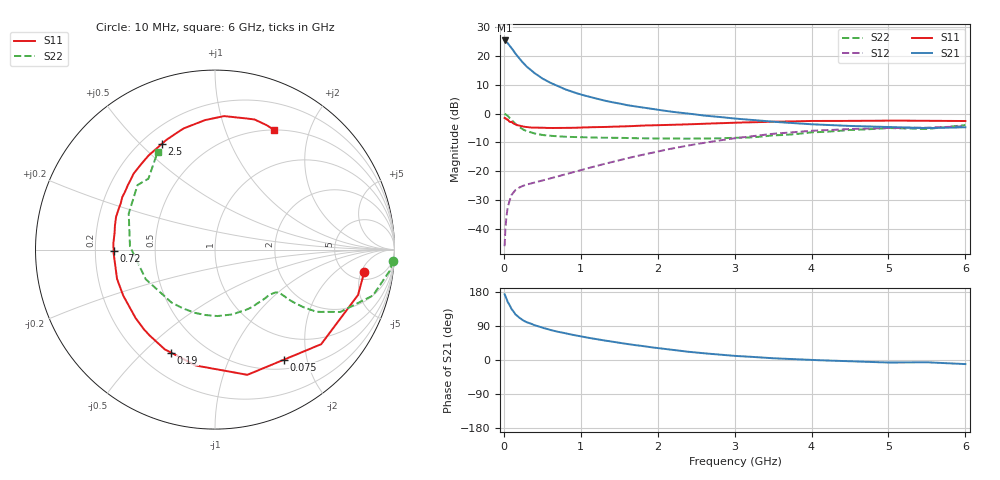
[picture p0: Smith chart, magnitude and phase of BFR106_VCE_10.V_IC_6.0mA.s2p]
! Infineon Technologies  Discrete & RF Semiconductors
! BFR106
! VCE =  10. V,  IC =  6.0 mA
! Common Emitter S-Parameters:  Nov 2015
# GHz  S  MA  R  50
!  f  S11  S21  S12  S22
! GHz  MAG  ANG  MAG  ANG  MAG  ANG  MAG  ANG
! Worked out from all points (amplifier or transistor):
!   210 points, 10 MHz to 6 GHz, reference 50 ohm
!   highest |S21| = 25.4 dB at 10 MHz (marker M1)
!   |S21| within 3 dB of that: start of sweep to 110.4 MHz
!   unconditionally stable (mu >= 1): 583.7 MHz to 1.841 GHz; 5.138 GHz to end of sweep
!   at 185 MHz: K = 0.42, MSG = 22.8 dB, |S12| = -25.9 dB
!   at 1.52 GHz: K = 1.09, MAG = 7.9 dB, |S12| = -16.1 dB
!   at 6 GHz: K = 1.01, MAG = -0.9 dB, |S12| = -4.4 dB
!   S11 on the Smith chart (normalised r, x): 10 MHz: 6.56, -5.68; 75 MHz: 0.63, -1.63; 190 MHz: 0.32, -0.61; 720 MHz: 0.28, -0.01; 2.5 GHz: 0.28, +0.58; 6 GHz: 0.50, +1.48
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0.01  0.8406 -8.7  18.61 173.6  0.005 89.8  0.9934 -3.6
0.02  0.836 -17.6  18.3 168.9  0.0097 82.5  0.98 -7.0
0.05  0.7923 -41.7  16.78 153.2  0.0234 69.7  0.9164 -16.2
0.075  0.7239 -57.8  15.09 144.8  0.0308 61.1  0.8444 -20.9
0.1  0.7207 -75.5  13.81 134.5  0.0387 55.9  0.7793 -26.5
0.15  0.6547 -99.4  11.03 120.4  0.047 47.1  0.6636 -31.5
0.19  0.6241 -113.1  9.464 113.7  0.051 44.7  0.6019 -32.7
0.2  0.6223 -116.7  9.097 111.7  0.052 44.2  0.5865 -33.1
0.26  0.5951 -131.7  7.364 103.5  0.0565 42.5  0.5215 -33.9
0.3  0.584 -139.3  6.481 99.5  0.0587 42.8  0.4944 -34.0
0.4  0.572 -153.4  5.033 91.7  0.0638 43.8  0.4497 -33.9
0.5  0.5697 -163.3  4.077 85.1  0.0689 46.7  0.4252 -34.1
0.6  0.5626 -171.5  3.452 79.6  0.0747 49.4  0.4124 -35.4
0.72  0.5652 -179.1  2.923 73.9  0.0827 53.0  0.4023 -37.6
1.02  0.5743 165.6  2.112 61.7  0.1059 59.6  0.3892 -44.3
1.4  0.5936 150.5  1.584 48.7  0.1434 64.1  0.3815 -56.1
2.02  0.6296 130.6  1.155 31.0  0.2231 63.4  0.3703 -80.2
2.5  0.6591 116.7  0.963 19.8  0.295 58.6  0.3679 -103.1
3.1  0.701 102.3  0.801 9.8  0.3869 49.1  0.3818 -135.3
4.1  0.7451 84.7  0.644 -0.6  0.5096 29.9  0.4781 173.5
5.1  0.7557 72.0  0.583 -6.6  0.5646 12.7  0.5572 138.8
6  0.744 64.0  0.579 -10.8  0.606 0.8  0.6323 120.3
